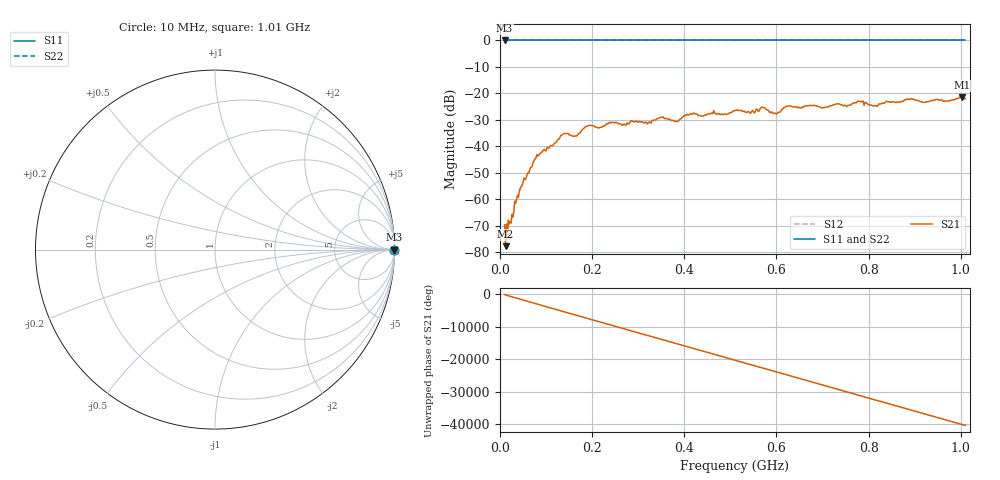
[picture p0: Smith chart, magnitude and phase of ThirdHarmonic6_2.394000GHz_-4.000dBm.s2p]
! 8/17/2025 3:54:03 AM
! C:\ANRITSUVNA\TEMP\TEMP.S2P
! CHANNEL.1
! TR.MEASUREMENT
! RAW.DATA
! RF.CORRECTION.OFF
! AVERAGING.OFF
! IF.BANDWIDTH: 5KHZ
! SWEEPTYPE:  FREQ.SWEEP(Linear)
! Reference Plane Port Info
! PORT:  PORT1  PORT2
! DISTANCE:  0  m  0  m
! TIME:  0  s  0  s
! PHASE.OFFSET:  0  deg.  0  deg.
! LOSS:  0  dB  0  dB
! REF.LOSS:  0  dB  0  dB
! REF.FREQ:  0  Hz  0  Hz
! Power Info
! POWER:  -20  dBm  -20  dBm
! EFF.POWER:  -20  dBm  -20  dBm
! SOURCE.ATTEN:  0  dB  0  dB
! TEST.ATTEN:  0  dB  0  dB
# GHZ S RI R 50.0
! FREQ.GHZ  S11RE  S11IM  S21RE  S21IM  S12RE  S12IM  S22RE  S22IM
!; PortSelection: Port_12
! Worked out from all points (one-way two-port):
!   501 points, 10 MHz to 1.01 GHz, reference 50 ohm
!   highest |S21| = -21.40 dB at 1.002 GHz (marker M1); lowest = -77.6 dB at 12 MHz (marker M2)
!   lowest |S11| = 0.0 dB at 10 MHz (marker M3)
!   |S11| at or under -10 dB: nowhere
!   |S22| runs from 0.0 to 0.0 dB; largest |S21 - S12| = 1.1
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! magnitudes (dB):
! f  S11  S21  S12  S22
! 10 MHz  0.0  -69.6  0.0  0.0
! 12 MHz  0.0  -77.6  0.0  0.0
! 20 MHz  0.0  -69.2  0.0  0.0
! 48 MHz  0.0  -54.7  0.0  0.0
! 78 MHz  0.0  -44.2  0.0  0.0
! 136 MHz  0.0  -35.5  0.0  0.0
! 164 MHz  0.0  -36.0  0.0  0.0
! 178 MHz  0.0  -33.8  0.0  0.0
! 194 MHz  0.0  -32.0  0.0  0.0
! 324 MHz  0.0  -30.8  0.0  0.0
! 344 MHz  0.0  -29.5  0.0  0.0
! 382 MHz  0.0  -30.6  0.0  0.0
! 416 MHz  0.0  -27.8  0.0  0.0
! 510 MHz  0.0  -26.5  0.0  0.0
! 570 MHz  0.0  -25.2  0.0  0.0
! 598 MHz  0.0  -27.5  0.0  0.0
! 624 MHz  0.0  -24.8  0.0  0.0
! 678 MHz  0.0  -24.6  0.0  0.0
! 814 MHz  0.0  -24.5  0.0  0.0
! 844 MHz  0.0  -23.2  0.0  0.0
! 1.002 GHz  0.0  -21.4  0.0  0.0
! 1.01 GHz  0.0  -21.9  0.0  0.0
